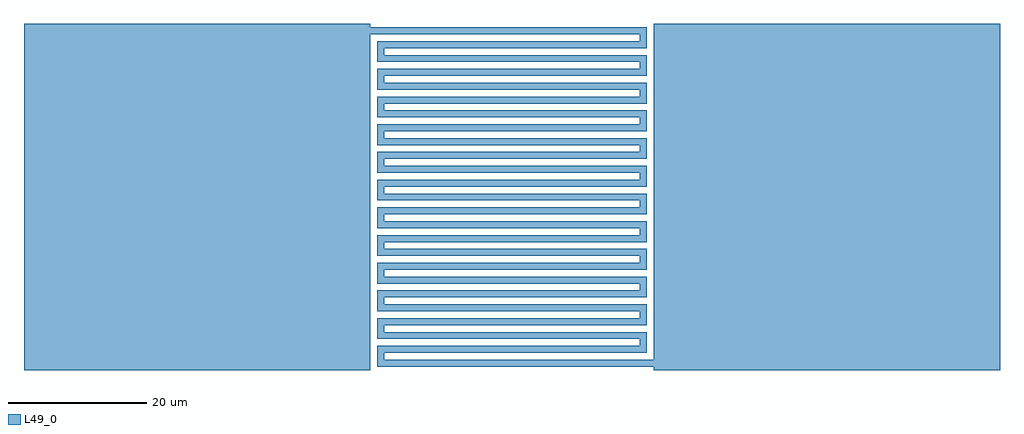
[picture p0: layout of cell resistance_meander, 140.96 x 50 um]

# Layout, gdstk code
import gdstk
lib = gdstk.Library(unit=1e-6, precision=1e-09)
def R(c, l, rs):  # rectangles x0, y0, x1, y1
    for r in rs: c.add(gdstk.rectangle(r[:2], r[2:], *l))
def A(c, l, x, y, w, h, nx, ny, dx, dy):  # array of equal rectangles
    R(c, l, [(x+i*dx, y+j*dy, x+i*dx+w, y+j*dy+h) for i in range(nx) for j in range(ny)])
L49_0 = (49, 0)

resistance_meander = lib.new_cell('resistance_meander')
A(resistance_meander, L49_0, 0, 0.5, 38.96, 1, 1, 25, 0, 2)
A(resistance_meander, L49_0, 0, 1.5, 1, 1, 1, 12, 0, 4)
A(resistance_meander, L49_0, 37.96, 3.5, 1, 1, 1, 12, 0, 4)
R(resistance_meander, L49_0, [(-51,0,-1,50), (39.96,0,89.96,50), (38.96,0.5,39.96,1.5), (-46,5,-6,45), (44.96,5,89.96,45), (-1,48.5,0,49.5)])

lib.write_gds('resistance_meander.gds')
